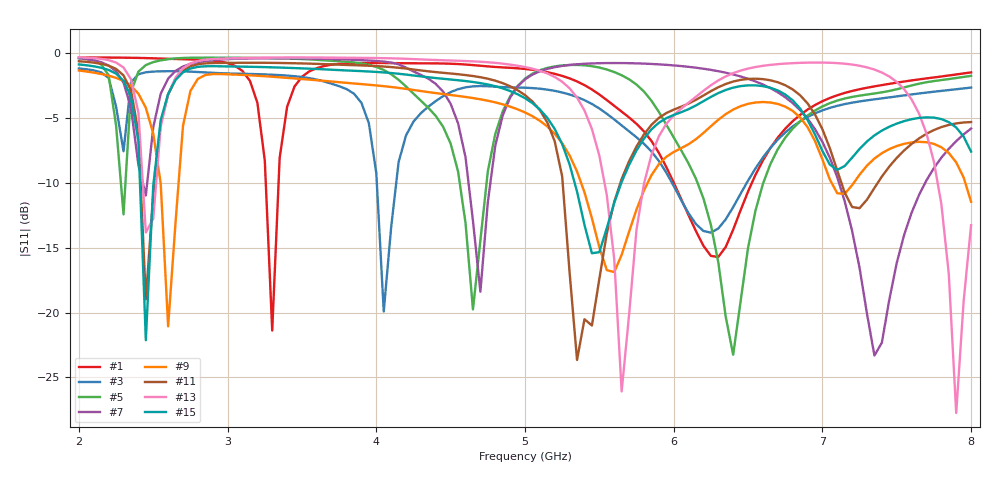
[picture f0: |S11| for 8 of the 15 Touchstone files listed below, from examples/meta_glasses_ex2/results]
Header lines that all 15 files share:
! Generated by Hertzon (EMerge FEM)
# HZ S RI R 50
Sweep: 2 GHz to 8 GHz
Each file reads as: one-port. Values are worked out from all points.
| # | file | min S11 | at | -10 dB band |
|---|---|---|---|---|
| 1 | A2.s1p | -21.4 dB | 3.3 GHz | 524.2 MHz wide |
| 2 | A4.s1p | -25.3 dB | 5.25 GHz | 390.9 MHz wide |
| 3 | A5.s1p | -19.9 dB | 4.05 GHz | 501.7 MHz wide |
| 4 | A6.s1p | -13.4 dB | 6.25 GHz | 489 MHz wide |
| 5 | A8.s1p | -23.2 dB | 6.4 GHz | 441.7 MHz wide |
| 6 | A12.s1p | -23.3 dB | 7.2 GHz | 566.7 MHz wide |
| 7 | A14.s1p | -23.3 dB | 7.35 GHz | 578.7 MHz wide |
| 8 | A15.s1p | -7.8 dB | 2.4 GHz | - |
| 9 | A16.s1p | -21.1 dB | 2.6 GHz | 446.7 MHz wide |
| 10 | A18.s1p | -22.5 dB | 5.55 GHz | 363.6 MHz wide |
| 11 | A19.s1p | -23.7 dB | 5.35 GHz | 387.9 MHz wide |
| 12 | A20.s1p | -20.5 dB | 5.55 GHz | 335.9 MHz wide |
| 13 | A21.s1p | -27.7 dB | 7.9 GHz | 266.4 MHz wide |
| 14 | A22_2side.s1p | -17.1 dB | 2.45 GHz | 304.2 MHz wide |
| 15 | hertzon_S11.s1p | -22.1 dB | 2.45 GHz | 313.3 MHz wide |
